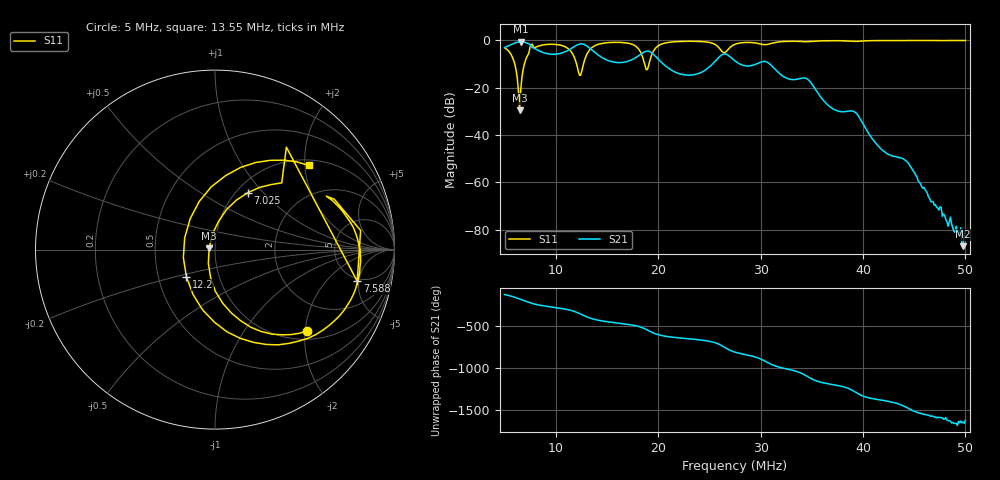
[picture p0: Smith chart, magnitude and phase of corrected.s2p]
! S11/S21 only; reverse parameters are placeholders. Device calibration unverified.
! [Saver CAL applied] C:\Users\aknya\MyProjects\rf-simulator\calibration2.cal | Ideal standards assumed | Input: NanoVNA F V2 profile | COM3 | 2026-09-08T11:52:41.9209068-04:00 | device calibration unverified
# HZ S RI R 50
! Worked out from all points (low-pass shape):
!   401 points, 5 MHz to 50 MHz, reference 50 ohm
!   highest |S21| = -0.66 dB at 6.575 MHz (marker M1); lowest = -86.9 dB at 49.77 MHz (marker M2)
!   |S21| within 3 dB of the highest: start of sweep to 7.981 MHz; 11.46 MHz to 13.38 MHz (1.924 MHz wide, 15.5 % of centre)
!   lowest |S11| = -29.6 dB at 6.463 MHz (marker M3), VSWR 1.07, Z = 46.9 + j0.657 ohm
!   |S11| at or under -10 dB: 5.983 MHz to 6.939 MHz (955.9 kHz wide, 14.8 % of centre); 12.02 MHz to 12.71 MHz (690.5 kHz wide, 5.58 % of centre); 18.66 MHz to 19.11 MHz (447 kHz wide, 2.37 % of centre)
!   S12 and S22 are empty: the file has one direction only
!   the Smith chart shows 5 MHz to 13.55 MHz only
!   S11 on the Smith chart (normalised r, x): 5 MHz: 1.21, -2.05; 7.025 MHz: 1.13, +0.83; 7.588 MHz: 4.60, -4.75; 12.2 MHz: 0.70, -0.22; 13.55 MHz: 1.13, +2.09
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5000000  0.5142 -0.4521  -0.4341 -0.5492  0 0  0 0
6462500  -0.0324 0.007  -0.9236 0.023  0 0  0 0
6575000  -0.0146 0.087  -0.9205 0.1075  0 0  0 0
7025000  0.1834 0.3174  -0.7924 0.4056  0 0  0 0
7587500  0.7924 -0.1762  -0.4659 0.5496  0 0  0 0
1.0175e7  0.7383 -0.3085  0.1463 0.4891  0 0  0 0
1.14125e7  0.2856 -0.5285  0.4554 0.4583  0 0  0 0
1.22e7  -0.159 -0.1526  0.7921 0.1708  0 0  0 0
1.25375e7  -0.1383 0.1718  0.8243 -0.1004  0 0  0 0
1.355e7  0.5219 0.469  0.3382 -0.5085  0 0  0 0
1.59125e7  0.8812 -0.1681  -0.0857 -0.3259  0 0  0 0
1.79375e7  0.3307 -0.6194  -0.3574 -0.2674  0 0  0 0
1.88375e7  -0.2346 -0.027  -0.5811 0.0413  0 0  0 0
2.0075e7  0.6417 0.4364  -0.1422 0.3547  0 0  0 0
2.3225e7  0.914 -0.2326  0.0841 0.1628  0 0  0 0
2.615e7  0.4784 -0.3662  0.467 -0.1057  0 0  0 0
2.75e7  0.7836 -0.222  -0.0202 -0.3623  0 0  0 0
3.09875e7  0.7428 -0.4064  -0.1663 0.2505  0 0  0 0
3.50375e7  0.69 -0.6358  0.0672 -0.0947  0 0  0 0
4.2575e7  0.443 -0.8712  0.00299 0.00236  0 0  0 0
4.9775e7  0.1651 -0.9674  -4.1e-05 1.87e-05  0 0  0 0
5e7  0.1597 -0.9674  -9.6e-05 5.91e-06  0 0  0 0
